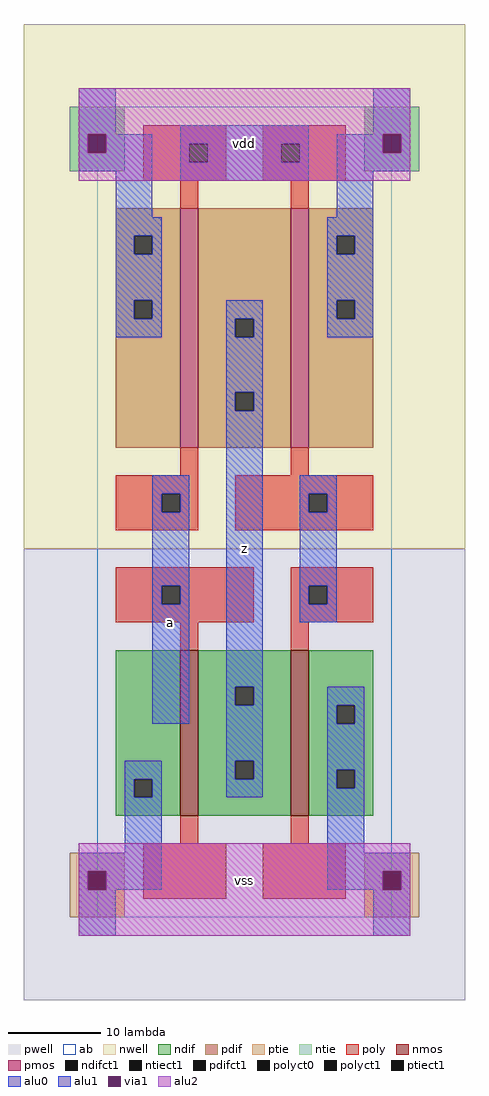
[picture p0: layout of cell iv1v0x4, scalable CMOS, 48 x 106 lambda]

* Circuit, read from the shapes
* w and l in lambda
.subckt iv1v0x4 a vdd vss z
M1 z a vss vss nfet w=18 l=2 m=2
M2 z a vdd vdd pfet w=26 l=2 m=2
.ends

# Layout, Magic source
magic
tech scmos
<< ab >>
rect 0 0 32 88
<< nwell >>
rect -8 40 40 97
<< pwell >>
rect -8 -9 40 40
<< poly >>
rect 5 84 14 86
rect 5 82 10 84
rect 12 82 14 84
rect 5 80 14 82
rect 18 84 27 86
rect 18 82 20 84
rect 22 82 27 84
rect 18 80 27 82
rect 9 77 11 80
rect 21 77 23 80
rect 9 48 11 51
rect 21 48 23 51
rect 2 46 11 48
rect 2 44 7 46
rect 9 44 11 46
rect 2 42 11 44
rect 15 46 30 48
rect 15 44 23 46
rect 25 44 30 46
rect 15 42 30 44
rect 2 36 17 38
rect 2 34 7 36
rect 9 34 17 36
rect 2 32 17 34
rect 21 36 30 38
rect 21 34 23 36
rect 25 34 30 36
rect 21 32 30 34
rect 9 29 11 32
rect 21 29 23 32
rect 9 8 11 11
rect 21 8 23 11
rect 5 2 14 8
rect 18 2 27 8
<< ndif >>
rect 2 15 9 29
rect 2 13 4 15
rect 6 13 9 15
rect 2 11 9 13
rect 11 25 21 29
rect 11 23 15 25
rect 17 23 21 25
rect 11 17 21 23
rect 11 15 15 17
rect 17 15 21 17
rect 11 11 21 15
rect 23 23 30 29
rect 23 21 26 23
rect 28 21 30 23
rect 23 16 30 21
rect 23 14 26 16
rect 28 14 30 16
rect 23 11 30 14
<< pdif >>
rect 2 74 9 77
rect 2 72 4 74
rect 6 72 9 74
rect 2 67 9 72
rect 2 65 4 67
rect 6 65 9 67
rect 2 51 9 65
rect 11 65 21 77
rect 11 63 15 65
rect 17 63 21 65
rect 11 57 21 63
rect 11 55 15 57
rect 17 55 21 57
rect 11 51 21 55
rect 23 74 30 77
rect 23 72 26 74
rect 28 72 30 74
rect 23 67 30 72
rect 23 65 26 67
rect 28 65 30 67
rect 23 51 30 65
<< alu1 >>
rect -2 85 2 90
rect -2 83 -1 85
rect 1 83 6 85
rect -2 81 6 83
rect 2 76 6 81
rect 30 85 34 90
rect 26 83 31 85
rect 33 83 34 85
rect 26 81 34 83
rect 26 76 30 81
rect 2 74 7 76
rect 2 72 4 74
rect 6 72 7 74
rect 2 67 7 72
rect 25 74 30 76
rect 25 72 26 74
rect 28 72 30 74
rect 25 67 30 72
rect 2 65 4 67
rect 6 65 7 67
rect 2 63 7 65
rect 14 65 18 67
rect 14 63 15 65
rect 17 63 18 65
rect 25 65 26 67
rect 28 65 30 67
rect 25 63 30 65
rect 14 57 18 63
rect 14 55 15 57
rect 17 55 18 57
rect 6 46 10 48
rect 6 44 7 46
rect 9 44 10 46
rect 6 36 10 44
rect 6 34 7 36
rect 9 34 10 36
rect 6 21 10 34
rect 14 25 18 55
rect 14 23 15 25
rect 17 23 18 25
rect 14 17 18 23
rect 3 15 7 17
rect 3 13 4 15
rect 6 13 7 15
rect 14 15 15 17
rect 17 15 18 17
rect 14 13 18 15
rect 25 23 29 25
rect 25 21 26 23
rect 28 21 29 23
rect 25 16 29 21
rect 25 14 26 16
rect 28 14 29 16
rect 3 7 7 13
rect -2 5 7 7
rect -2 3 -1 5
rect 1 3 7 5
rect 25 7 29 14
rect 25 5 34 7
rect 25 3 31 5
rect 33 3 34 5
rect -2 -2 2 3
rect 30 -2 34 3
<< alu2 >>
rect -2 85 34 90
rect -2 83 -1 85
rect 1 83 31 85
rect 33 83 34 85
rect -2 80 34 83
rect -2 5 34 8
rect -2 3 -1 5
rect 1 3 31 5
rect 33 3 34 5
rect -2 -2 34 3
<< ptie >>
rect -3 5 3 7
rect -3 3 -1 5
rect 1 3 3 5
rect -3 0 3 3
rect 29 5 35 7
rect 29 3 31 5
rect 33 3 35 5
rect 29 0 35 3
<< ntie >>
rect -3 85 3 88
rect -3 83 -1 85
rect 1 83 3 85
rect -3 81 3 83
rect 29 85 35 88
rect 29 83 31 85
rect 33 83 35 85
rect 29 81 35 83
<< nmos >>
rect 9 11 11 29
rect 21 11 23 29
<< pmos >>
rect 9 51 11 77
rect 21 51 23 77
<< polyct0 >>
rect 10 82 12 84
rect 20 82 22 84
rect 23 44 25 46
rect 23 34 25 36
<< polyct1 >>
rect 7 44 9 46
rect 7 34 9 36
<< ndifct1 >>
rect 4 13 6 15
rect 15 23 17 25
rect 15 15 17 17
rect 26 21 28 23
rect 26 14 28 16
<< ntiect1 >>
rect -1 83 1 85
rect 31 83 33 85
<< ptiect1 >>
rect -1 3 1 5
rect 31 3 33 5
<< pdifct1 >>
rect 4 72 6 74
rect 4 65 6 67
rect 15 63 17 65
rect 15 55 17 57
rect 26 72 28 74
rect 26 65 28 67
<< alu0 >>
rect 9 84 23 86
rect 9 82 10 84
rect 12 82 20 84
rect 22 82 23 84
rect 9 80 23 82
rect 22 46 26 48
rect 22 44 23 46
rect 25 44 26 46
rect 22 36 26 44
rect 22 34 23 36
rect 25 34 26 36
rect 22 32 26 34
<< via1 >>
rect -1 83 1 85
rect 31 83 33 85
rect -1 3 1 5
rect 31 3 33 5
<< labels >>
rlabel alu1 8 32 8 32 6 a
rlabel alu1 16 40 16 40 6 z
rlabel alu2 16 4 16 4 6 vss
rlabel alu2 16 84 16 84 6 vdd
<< end >>
